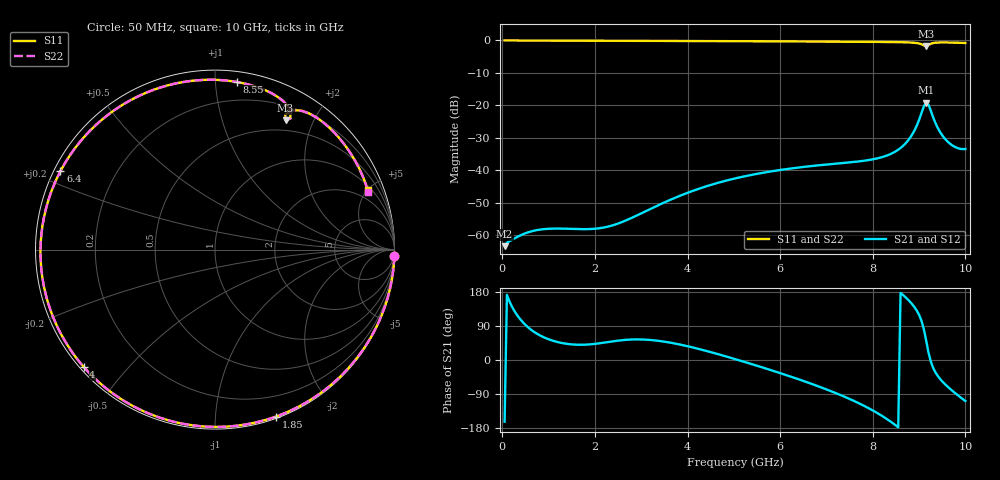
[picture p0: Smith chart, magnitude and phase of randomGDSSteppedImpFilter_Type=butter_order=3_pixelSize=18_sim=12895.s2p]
! freq	dB(S11)	phase(S11)	dB(S12)	phase(S12)
!  dB(S21)	phase(S21)	dB(S22)	phase(S22)
!S-par simulation data
#  GHz  S  DB  R 50
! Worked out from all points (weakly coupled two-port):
!   200 points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, 50 MHz to 10 GHz, reference 50 ohm
!   highest |S21| = -19.14 dB at 9.15 GHz (marker M1); lowest = -63.4 dB at 50 MHz (marker M2)
!   lowest |S11| = -1.7 dB at 9.15 GHz (marker M3), VSWR 10.14, Z = 18.5 + j81.2 ohm
!   |S11| at or under -10 dB: nowhere
!   |S22| runs from -1.7 to 0.0 dB; largest |S21 - S12| = 0
!   S11 on the Smith chart (normalised r, x): 50 MHz: 0, -58; 1.85 GHz: 0.01, -1.43; 4 GHz: 0.01, -0.38; 6.4 GHz: 0.02, +0.24; 8.55 GHz: 0.07, +1.14; 10 GHz: 1.26, +5.03
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0.05  -0.00 -2.0  -63.39 -162.7  -63.39 -162.7  -0.00 -2.0
0.7  -0.03 -27.4  -58.57 73.1  -58.57 73.1  -0.03 -27.4
1.25  -0.06 -48.2  -57.97 45.7  -57.97 45.7  -0.06 -48.2
1.75  -0.08 -66.4  -58.15 40.3  -58.15 40.3  -0.08 -66.4
1.85  -0.08 -69.9  -58.14 40.8  -58.14 40.8  -0.08 -69.9
2.6  -0.11 -95.3  -55.87 52.5  -55.87 52.5  -0.11 -95.3
3.4  -0.14 -120.4  -50.56 50.1  -50.56 50.1  -0.14 -120.4
4  -0.17 -138.3  -46.95 36.4  -46.95 36.4  -0.17 -138.2
5.05  -0.22 -168.2  -42.44 1.6  -42.44 1.6  -0.22 -168.2
5.75  -0.26 172.0  -40.47 -24.7  -40.47 -24.7  -0.26 172.0
6.4  -0.30 153.2  -39.15 -51.0  -39.15 -51.0  -0.30 153.2
6.7  -0.33 144.2  -38.66 -63.9  -38.66 -63.9  -0.33 144.2
7.6  -0.40 116.0  -37.43 -108.4  -37.43 -108.4  -0.40 116.0
8.35  -0.48 90.0  -35.21 -159.5  -35.21 -159.5  -0.48 90.0
8.55  -0.52 82.5  -33.66 -177.7  -33.66 -177.7  -0.52 82.4
8.85  -0.66 70.3  -29.01 147.3  -29.01 147.3  -0.66 70.2
9.05  -1.15 61.3  -22.46 104.1  -22.46 104.1  -1.14 61.2
9.15  -1.72 61.3  -19.14 53.1  -19.14 53.1  -1.69 61.1
9.3  -0.80 58.1  -23.55 -19.7  -23.55 -19.7  -0.80 57.8
9.55  -0.62 44.8  -30.16 -62.8  -30.16 -62.8  -0.62 44.5
9.8  -0.69 32.1  -32.99 -89.5  -32.99 -89.5  -0.69 31.7
10  -0.79 21.2  -33.43 -108.1  -33.43 -108.1  -0.80 20.7
